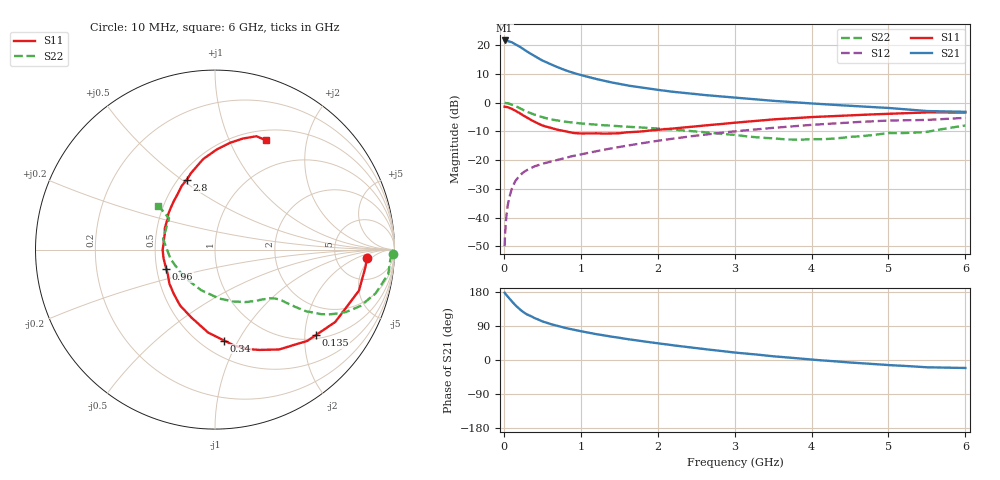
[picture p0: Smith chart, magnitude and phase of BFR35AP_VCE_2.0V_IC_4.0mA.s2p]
! Infineon Technologies  Discrete & RF Semiconductors
! BFR35AP
! VCE =  2.0 V,  IC =  4.0 mA
! Common Emitter S-Parameters:  Nov 2015
# GHz  S  MA  R  50
!  f  S11  S21  S12  S22
! GHz  MAG  ANG  MAG  ANG  MAG  ANG  MAG  ANG
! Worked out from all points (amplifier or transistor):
!   210 points, 10 MHz to 6 GHz, reference 50 ohm
!   highest |S21| = 21.6 dB at 10 MHz (marker M1)
!   |S21| within 3 dB of that: start of sweep to 254.4 MHz
!   unconditionally stable (mu >= 1): 840.4 MHz to 4.173 GHz; 5.246 GHz to 5.924 GHz
!   at 185 MHz: K = 0.34, MSG = 22.9 dB, |S12| = -26.0 dB
!   at 1.52 GHz: K = 1.15, MAG = 8.5 dB, |S12| = -15.4 dB
!   at 6 GHz: K = 1.00, MSG = 1.1 dB, |S12| = -5.3 dB
!   S11 on the Smith chart (normalised r, x): 10 MHz: 11, -4; 135 MHz: 1.09, -2.27; 340 MHz: 0.64, -0.88; 960 MHz: 0.56, -0.13; 2.8 GHz: 0.55, +0.52; 6 GHz: 0.62, +1.38
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0.01  0.8474 -3.3  11.96 177.6  0.0032 88.6  0.9918 -1.5
0.04  0.8349 -12.7  11.72 169.7  0.0129 82.3  0.9754 -6.4
0.1  0.7821 -31.0  11.24 155.3  0.0307 73.6  0.9279 -15.2
0.135  0.7363 -40.4  10.51 147.7  0.0395 68.4  0.8858 -19.3
0.15  0.7232 -44.7  10.26 144.1  0.0433 66.8  0.8692 -21.2
0.2  0.6613 -57.3  9.443 134.9  0.0527 62.3  0.808 -25.5
0.24  0.6109 -66.2  8.719 128.5  0.0592 58.8  0.7571 -28.2
0.28  0.5673 -74.2  8.029 123.1  0.0645 56.9  0.7132 -30.3
0.34  0.5097 -84.2  7.151 116.9  0.0714 54.8  0.6616 -32.3
0.4  0.464 -94.7  6.391 110.6  0.078 53.1  0.6155 -34.0
0.5  0.4009 -109.1  5.38 101.9  0.0862 51.7  0.5554 -35.4
0.6  0.3672 -122.0  4.664 95.2  0.0935 51.6  0.5139 -36.3
0.8  0.3172 -143.2  3.631 84.6  0.1095 51.7  0.4636 -37.4
0.96  0.2918 -158.6  3.109 77.7  0.1226 52.1  0.4393 -38.7
1.02  0.2901 -164.2  2.954 75.3  0.1274 52.4  0.4315 -39.2
1.4  0.2904 168.1  2.233 61.6  0.1595 52.8  0.3961 -43.9
2.02  0.3371 137.6  1.649 43.6  0.2185 50.3  0.3512 -55.2
2.8  0.4199 111.8  1.286 24.4  0.2963 43.7  0.2883 -77.1
3.1  0.4572 105.3  1.182 17.9  0.3248 40.2  0.2638 -89.0
4.1  0.5664 87.4  0.945 -0.5  0.4172 27.9  0.2307 -145.0
5.1  0.6443 74.6  0.786 -14.4  0.4883 13.9  0.2942 163.8
6  0.6714 64.9  0.69 -21.1  0.5418 3.7  0.3993 142.1
